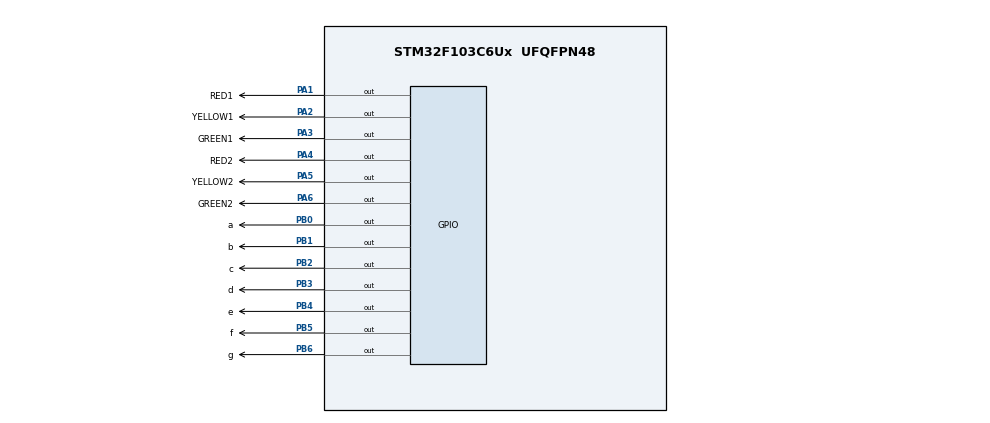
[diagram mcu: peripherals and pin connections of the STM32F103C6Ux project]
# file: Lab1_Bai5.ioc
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Mcu.Family=STM32F1
Mcu.Name=STM32F103C6Ux
Mcu.Package=UFQFPN48
NVIC.PriorityGroup=NVIC_PRIORITYGROUP_4
PA1.GPIO_Label=RED1
PA1.Signal=GPIO_Output
PA2.GPIO_Label=YELLOW1
PA2.Signal=GPIO_Output
PA3.GPIO_Label=GREEN1
PA3.Signal=GPIO_Output
PA4.GPIO_Label=RED2
PA4.Signal=GPIO_Output
PA5.GPIO_Label=YELLOW2
PA5.Signal=GPIO_Output
PA6.GPIO_Label=GREEN2
PA6.Signal=GPIO_Output
PB0.GPIO_Label=a
PB0.Signal=GPIO_Output
PB1.GPIO_Label=b
PB1.Signal=GPIO_Output
PB2.GPIO_Label=c
PB2.Signal=GPIO_Output
PB3.GPIO_Label=d
PB3.Signal=GPIO_Output
PB4.GPIO_Label=e
PB4.Signal=GPIO_Output
PB5.GPIO_Label=f
PB5.Signal=GPIO_Output
PB6.GPIO_Label=g
PB6.Signal=GPIO_Output
ProjectManager.HeapSize=0x200
ProjectManager.StackSize=0x400
ProjectManager.TargetToolchain=STM32CubeIDE
RCC.APB1Freq_Value=8000000
RCC.APB2Freq_Value=8000000
VP_SYS_VS_ND.Mode=No_Debug
board=custom

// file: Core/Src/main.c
/* USER CODE BEGIN Header */
/**
  ******************************************************************************
  * @file           : main.c
  * @brief          : Main program body
  ******************************************************************************
  * @attention
  *
  * <h2><center>&copy; Copyright (c) 2023 STMicroelectronics.
  * All rights reserved.</center></h2>
  *
  * This software component is licensed by ST under BSD 3-Clause license,
  * the "License"; You may not use this file except in compliance with the
  * License. You may obtain a copy of the License at:
  *                        opensource.org/licenses/BSD-3-Clause
  *
  ******************************************************************************
  */
/* USER CODE END Header */
#include "main.h"

void SystemClock_Config(void);
static void MX_GPIO_Init(void);

void display7SEG(int num){
	switch(num){
	case 0:
		HAL_GPIO_WritePin(a_GPIO_Port, a_Pin, RESET);
		HAL_GPIO_WritePin(b_GPIO_Port, b_Pin, RESET);
		HAL_GPIO_WritePin(c_GPIO_Port, c_Pin, RESET);
		HAL_GPIO_WritePin(d_GPIO_Port, d_Pin, RESET);
		HAL_GPIO_WritePin(e_GPIO_Port, e_Pin, RESET);
		HAL_GPIO_WritePin(f_GPIO_Port, f_Pin, RESET);
		HAL_GPIO_WritePin(g_GPIO_Port, g_Pin, SET);
		break;
	case 1:
		HAL_GPIO_WritePin(a_GPIO_Port, a_Pin, SET);
		HAL_GPIO_WritePin(b_GPIO_Port, b_Pin, RESET);
		HAL_GPIO_WritePin(c_GPIO_Port, c_Pin, RESET);
		HAL_GPIO_WritePin(d_GPIO_Port, d_Pin, SET);
		HAL_GPIO_WritePin(e_GPIO_Port, e_Pin, SET);
		HAL_GPIO_WritePin(f_GPIO_Port, f_Pin, SET);
		HAL_GPIO_WritePin(g_GPIO_Port, g_Pin, SET);
		break;
	case 2:
		HAL_GPIO_WritePin(a_GPIO_Port, a_Pin, RESET);
		HAL_GPIO_WritePin(b_GPIO_Port, b_Pin, RESET);
		HAL_GPIO_WritePin(c_GPIO_Port, c_Pin, SET);
		HAL_GPIO_WritePin(d_GPIO_Port, d_Pin, RESET);
		HAL_GPIO_WritePin(e_GPIO_Port, e_Pin, RESET);
		HAL_GPIO_WritePin(f_GPIO_Port, f_Pin, SET);
		HAL_GPIO_WritePin(g_GPIO_Port, g_Pin, RESET);
		break;
	case 3:
		HAL_GPIO_WritePin(a_GPIO_Port, a_Pin, RESET);
		HAL_GPIO_WritePin(b_GPIO_Port, b_Pin, RESET);
		HAL_GPIO_WritePin(c_GPIO_Port, c_Pin, RESET);
		HAL_GPIO_WritePin(d_GPIO_Port, d_Pin, RESET);
		HAL_GPIO_WritePin(e_GPIO_Port, e_Pin, SET);
		HAL_GPIO_WritePin(f_GPIO_Port, f_Pin, SET);
		HAL_GPIO_WritePin(g_GPIO_Port, g_Pin, RESET);
		break;
	case 4:
		HAL_GPIO_WritePin(a_GPIO_Port, a_Pin, SET);
		HAL_GPIO_WritePin(b_GPIO_Port, b_Pin, RESET);
		HAL_GPIO_WritePin(c_GPIO_Port, c_Pin, RESET);
		HAL_GPIO_WritePin(d_GPIO_Port, d_Pin, SET);
		HAL_GPIO_WritePin(e_GPIO_Port, e_Pin, SET);
		HAL_GPIO_WritePin(f_GPIO_Port, f_Pin, RESET);
		HAL_GPIO_WritePin(g_GPIO_Port, g_Pin, RESET);
		break;
	case 5:
		HAL_GPIO_WritePin(a_GPIO_Port, a_Pin, RESET);
		HAL_GPIO_WritePin(b_GPIO_Port, b_Pin, SET);
		HAL_GPIO_WritePin(c_GPIO_Port, c_Pin, RESET);
		HAL_GPIO_WritePin(d_GPIO_Port, d_Pin, RESET);
		HAL_GPIO_WritePin(e_GPIO_Port, e_Pin, SET);
		HAL_GPIO_WritePin(f_GPIO_Port, f_Pin, RESET);
		HAL_GPIO_WritePin(g_GPIO_Port, g_Pin, RESET);
		break;
	case 6:
		HAL_GPIO_WritePin(a_GPIO_Port, a_Pin, RESET);
		HAL_GPIO_WritePin(b_GPIO_Port, b_Pin, SET);
		HAL_GPIO_WritePin(c_GPIO_Port, c_Pin, RESET);
		HAL_GPIO_WritePin(d_GPIO_Port, d_Pin, RESET);
		HAL_GPIO_WritePin(e_GPIO_Port, e_Pin, RESET);
		HAL_GPIO_WritePin(f_GPIO_Port, f_Pin, RESET);
		HAL_GPIO_WritePin(g_GPIO_Port, g_Pin, RESET);
		break;
	case 7:
		HAL_GPIO_WritePin(a_GPIO_Port, a_Pin, RESET);
		HAL_GPIO_WritePin(b_GPIO_Port, b_Pin, RESET);
		HAL_GPIO_WritePin(c_GPIO_Port, c_Pin, RESET);
		HAL_GPIO_WritePin(d_GPIO_Port, d_Pin, SET);
		HAL_GPIO_WritePin(e_GPIO_Port, e_Pin, SET);
		HAL_GPIO_WritePin(f_GPIO_Port, f_Pin, SET);
		HAL_GPIO_WritePin(g_GPIO_Port, g_Pin, SET);
		break;
	case 8:
		HAL_GPIO_WritePin(a_GPIO_Port, a_Pin, RESET);
		HAL_GPIO_WritePin(b_GPIO_Port, b_Pin, RESET);
		HAL_GPIO_WritePin(c_GPIO_Port, c_Pin, RESET);
		HAL_GPIO_WritePin(d_GPIO_Port, d_Pin, RESET);
		HAL_GPIO_WritePin(e_GPIO_Port, e_Pin, RESET);
		HAL_GPIO_WritePin(f_GPIO_Port, f_Pin, RESET);
		HAL_GPIO_WritePin(g_GPIO_Port, g_Pin, RESET);
		break;
	case 9:
		HAL_GPIO_WritePin(a_GPIO_Port, a_Pin, RESET);
		HAL_GPIO_WritePin(b_GPIO_Port, b_Pin, RESET);
		HAL_GPIO_WritePin(c_GPIO_Port, c_Pin, RESET);
		HAL_GPIO_WritePin(d_GPIO_Port, d_Pin, RESET);
		HAL_GPIO_WritePin(e_GPIO_Port, e_Pin, SET);
		HAL_GPIO_WritePin(f_GPIO_Port, f_Pin, RESET);
		HAL_GPIO_WritePin(g_GPIO_Port, g_Pin, RESET);
		break;
	default:
		break;
	}
}

int main(void)
{

  /* MCU Configuration--------------------------------------------------------*/

  /* Reset of all peripherals, Initializes the Flash interface and the Systick. */
  HAL_Init();

  /* Configure the system clock */
  SystemClock_Config();

  /* Initialize all configured peripherals */
  MX_GPIO_Init();

  /* Infinite loop */
  /* USER CODE BEGIN WHILE */
	  int numYellow = 2;
	  int numGreen = 3;
	  int countYellow1 = numYellow;
	  int countGreen1 = numGreen;
	  int countYellow2 = numYellow;
	  int countGreen2 = numGreen;
	  int state = 0;
	  while (1)
	  {
		  switch(state){
		  case 0:
			  if (countGreen2 == 0){
				  state = 1;
			  }
			  else{
				  countGreen2 = countGreen2 -1;
				  break;
			  }
		  case 1:
			  if (countYellow2 == 0){
				  state = 2;
			  }
			  else {
				  countYellow2 = countYellow2 - 1;
				  break;
			  }
		  case 2:
			  if (countGreen1 == 0){
				  state =3;
			  }
			  else {
				  countGreen1 = countGreen1 - 1;
				  break;
			  }
		  case 3:
			  if (countYellow1 == 0){
				  state = 0;
				  countGreen1 = numGreen;
				  countGreen2 = numGreen - 1;
				  countYellow1 = numYellow;
				  countYellow2 = numYellow;
			  }
			  else {
				  countYellow1 = countYellow1 - 1;
				  break;
			  }
		  }

		  if(state == 0){
			  display7SEG(countGreen2+countYellow2 + 1);
			  HAL_GPIO_WritePin(RED1_GPIO_Port, RED1_Pin, RESET);
			  HAL_GPIO_WritePin(RED2_GPIO_Port, RED2_Pin, SET);
			  HAL_GPIO_WritePin(YELLOW1_GPIO_Port, YELLOW1_Pin, SET);
			  HAL_GPIO_WritePin(YELLOW2_GPIO_Port, YELLOW2_Pin, SET);
			  HAL_GPIO_WritePin(GREEN1_GPIO_Port, GREEN1_Pin, SET);
			  HAL_GPIO_WritePin(GREEN2_GPIO_Port, GREEN2_Pin, RESET);
		  }
		  if(state == 1){
			  display7SEG(countYellow2 + 1);
			  HAL_GPIO_WritePin(RED1_GPIO_Port, RED1_Pin, RESET);
			  HAL_GPIO_WritePin(RED2_GPIO_Port, RED2_Pin, SET);
			  HAL_GPIO_WritePin(YELLOW1_GPIO_Port, YELLOW1_Pin, SET);
			  HAL_GPIO_WritePin(YELLOW2_GPIO_Port, YELLOW2_Pin, RESET);
			  HAL_GPIO_WritePin(GREEN1_GPIO_Port, GREEN1_Pin, SET);
			  HAL_GPIO_WritePin(GREEN2_GPIO_Port, GREEN2_Pin, SET);
		  }
		  if(state == 2){
			  display7SEG(countGreen1+countYellow1 + 1);
			  HAL_GPIO_WritePin(RED1_GPIO_Port, RED1_Pin, SET);
			  HAL_GPIO_WritePin(RED2_GPIO_Port, RED2_Pin, RESET);
			  HAL_GPIO_WritePin(YELLOW1_GPIO_Port, YELLOW1_Pin, SET);
			  HAL_GPIO_WritePin(YELLOW2_GPIO_Port, YELLOW2_Pin, SET);
			  HAL_GPIO_WritePin(GREEN1_GPIO_Port, GREEN1_Pin, RESET);
			  HAL_GPIO_WritePin(GREEN2_GPIO_Port, GREEN2_Pin, SET);
		  }
		  if(state ==3){
			  display7SEG(countYellow1 + 1);
			  HAL_GPIO_WritePin(RED1_GPIO_Port, RED1_Pin, SET);
			  HAL_GPIO_WritePin(RED2_GPIO_Port, RED2_Pin, RESET);
			  HAL_GPIO_WritePin(YELLOW1_GPIO_Port, YELLOW1_Pin, RESET);
			  HAL_GPIO_WritePin(YELLOW2_GPIO_Port, YELLOW2_Pin, SET);
			  HAL_GPIO_WritePin(GREEN1_GPIO_Port, GREEN1_Pin, SET);
			  HAL_GPIO_WritePin(GREEN2_GPIO_Port, GREEN2_Pin, SET);
		  }
		/* USER CODE END WHILE */
		  HAL_Delay(1000);
  }
}

void SystemClock_Config(void)
{
  RCC_OscInitTypeDef RCC_OscInitStruct = {0};
  RCC_ClkInitTypeDef RCC_ClkInitStruct = {0};

  /** Initializes the RCC Oscillators according to the specified parameters
  * in the RCC_OscInitTypeDef structure.
  */
  RCC_OscInitStruct.OscillatorType = RCC_OSCILLATORTYPE_HSI;
  RCC_OscInitStruct.HSIState = RCC_HSI_ON;
  RCC_OscInitStruct.HSICalibrationValue = RCC_HSICALIBRATION_DEFAULT;
  RCC_OscInitStruct.PLL.PLLState = RCC_PLL_NONE;
  if (HAL_RCC_OscConfig(&RCC_OscInitStruct) != HAL_OK)
  {
    Error_Handler();
  }
  /** Initializes the CPU, AHB and APB buses clocks
  */
  RCC_ClkInitStruct.ClockType = RCC_CLOCKTYPE_HCLK|RCC_CLOCKTYPE_SYSCLK
                              |RCC_CLOCKTYPE_PCLK1|RCC_CLOCKTYPE_PCLK2;
  RCC_ClkInitStruct.SYSCLKSource = RCC_SYSCLKSOURCE_HSI;
  RCC_ClkInitStruct.AHBCLKDivider = RCC_SYSCLK_DIV1;
  RCC_ClkInitStruct.APB1CLKDivider = RCC_HCLK_DIV1;
  RCC_ClkInitStruct.APB2CLKDivider = RCC_HCLK_DIV1;

  if (HAL_RCC_ClockConfig(&RCC_ClkInitStruct, FLASH_LATENCY_0) != HAL_OK)
  {
    Error_Handler();
  }
}

static void MX_GPIO_Init(void)
{
  GPIO_InitTypeDef GPIO_InitStruct = {0};

  /* GPIO Ports Clock Enable */
  __HAL_RCC_GPIOA_CLK_ENABLE();
  __HAL_RCC_GPIOB_CLK_ENABLE();

  /*Configure GPIO pin Output Level */
  HAL_GPIO_WritePin(GPIOA, RED1_Pin|YELLOW1_Pin|GREEN1_Pin|RED2_Pin
                          |YELLOW2_Pin|GREEN2_Pin, GPIO_PIN_RESET);

  /*Configure GPIO pin Output Level */
  HAL_GPIO_WritePin(GPIOB, a_Pin|b_Pin|c_Pin|d_Pin
                          |e_Pin|f_Pin|g_Pin, GPIO_PIN_RESET);

  /*Configure GPIO pins : RED1_Pin YELLOW1_Pin GREEN1_Pin RED2_Pin
                           YELLOW2_Pin GREEN2_Pin */
  GPIO_InitStruct.Pin = RED1_Pin|YELLOW1_Pin|GREEN1_Pin|RED2_Pin
                          |YELLOW2_Pin|GREEN2_Pin;
  GPIO_InitStruct.Mode = GPIO_MODE_OUTPUT_PP;
  GPIO_InitStruct.Pull = GPIO_NOPULL;
  GPIO_InitStruct.Speed = GPIO_SPEED_FREQ_LOW;
  HAL_GPIO_Init(GPIOA, &GPIO_InitStruct);

  /*Configure GPIO pins : a_Pin b_Pin c_Pin d_Pin
                           e_Pin f_Pin g_Pin */
  GPIO_InitStruct.Pin = a_Pin|b_Pin|c_Pin|d_Pin
                          |e_Pin|f_Pin|g_Pin;
  GPIO_InitStruct.Mode = GPIO_MODE_OUTPUT_PP;
  GPIO_InitStruct.Pull = GPIO_NOPULL;
  GPIO_InitStruct.Speed = GPIO_SPEED_FREQ_LOW;
  HAL_GPIO_Init(GPIOB, &GPIO_InitStruct);

}

void Error_Handler(void)
{
  __disable_irq();
  while (1)
  {
  }
}

/************************ (C) COPYRIGHT STMicroelectronics *****END OF FILE****/
